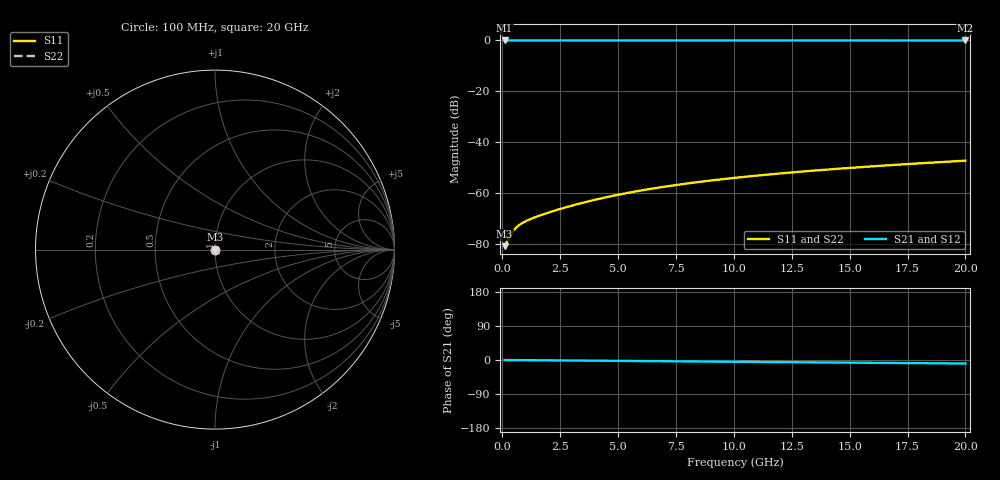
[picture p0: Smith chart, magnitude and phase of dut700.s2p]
! Touchstone file exported from HFSS 2026.1.0
!  File:  C:/ffzhzh/LocalFiles/Ansys_Project_Files/temp_train_TSV_700_1783181747_18472.aedt
!  Generated:  12:17:07 AM Jul  5, 2026
!  Design:  TSV
!  Project:  temp_train_TSV_700_1783181747_18472
! Variables:
!  h_bsmrdl = 2um
!  h_ox = 20um
!  h_rdl = 5um
!  h_sub = 92.78um
!  h_tmrdl = 5um
!  h_tsv = 92.78um
!  h_via = 3um
!  l_bsmrdl = 300um
!  l_sub = 427.88um
!  l_tmrdl = 200um
!  m_sub = 200um
!  pitch = 54.32um
!  r_tsv = 13.94um
!  s_tmrdl = 10um
!  w_bsmrdl = 18um
!  w_sub = 500um
!  w_tmrdl = 12um
!  x_tsv_center1 = 206um
!  x_tsv_center2 = 524um
!  x_tsv_center3 = 736um
!  x_tsv_center4 = 1054um
!  x_tsv_center5 = 1266um
!  x_tsv_center6 = 1584um
# GHz S MA R 50.000000
! Terminal data exported
! Port[1] = TSV1_1_T1
! Port[2] = TSV1_1_T2
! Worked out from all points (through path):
!   200 points, 100 MHz to 20 GHz, reference 50 ohm
!   highest |S21| = 0.00 dB at 100 MHz (marker M1); lowest = 0.0 dB at 20 GHz (marker M2)
!   group delay of S21, straight-line fit = 1.28 ps
!   lowest |S11| = -80.9 dB at 100 MHz (marker M3), VSWR 1.00, Z = 50 + j0.00256 ohm
!   |S11| at or under -10 dB: start of sweep to end of sweep
!   |S22| runs from -80.9 to -47.3 dB; largest |S21 - S12| = 3e-15
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0.1  9.06e-05 16.4  0.9999 -0.0  0.9999 -0.0  9.06e-05 16.4
! Gamma 0 0 0 0
! Port Impedance 50 0 50 0
0.2  0.0001124 24.8  0.9999 -0.1  0.9999 -0.1  0.0001124 24.8
0.3  0.0001386 26.4  0.9999 -0.1  0.9999 -0.1  0.0001386 26.4
0.4  0.0001646 24.6  0.9999 -0.2  0.9999 -0.2  0.0001646 24.6
0.5  0.0001886 21.1  0.9998 -0.2  0.9998 -0.2  0.0001886 21.1
0.6  0.0002103 17.0  0.9998 -0.3  0.9998 -0.3  0.0002103 17.0
0.7  0.0002298 12.8  0.9998 -0.3  0.9998 -0.3  0.0002298 12.8
0.8  0.0002474 8.6  0.9998 -0.4  0.9998 -0.4  0.0002474 8.6
1  0.0002787 0.9  0.9997 -0.5  0.9997 -0.5  0.0002787 0.9
1.4  0.0003338 -12.0  0.9997 -0.7  0.9997 -0.7  0.0003338 -12.0
2  0.0004152 -25.7  0.9996 -0.9  0.9996 -0.9  0.0004152 -25.7
2.7  0.0005188 -36.4  0.9996 -1.3  0.9996 -1.3  0.0005188 -36.4
3.5  0.0006505 -44.6  0.9995 -1.6  0.9995 -1.6  0.0006505 -44.6
4.3  0.000794 -50.5  0.9995 -2.0  0.9995 -2.0  0.0007941 -50.5
5.1  0.0009469 -55.0  0.9994 -2.4  0.9994 -2.4  0.000947 -55.0
6.8  0.001293 -62.1  0.9993 -3.2  0.9993 -3.2  0.001293 -62.1
8.4  0.001635 -66.8  0.9993 -3.9  0.9993 -3.9  0.001635 -66.8
10.1  0.002009 -70.8  0.9992 -4.7  0.9992 -4.7  0.002009 -70.8
11.7  0.002367 -73.8  0.9991 -5.4  0.9991 -5.4  0.002367 -73.8
13.4  0.002755 -76.5  0.9991 -6.2  0.9991 -6.2  0.002755 -76.5
16.7  0.003529 -80.6  0.999 -7.7  0.999 -7.7  0.003529 -80.6
20  0.004337 -83.9  0.9988 -9.3  0.9988 -9.3  0.004337 -83.9
